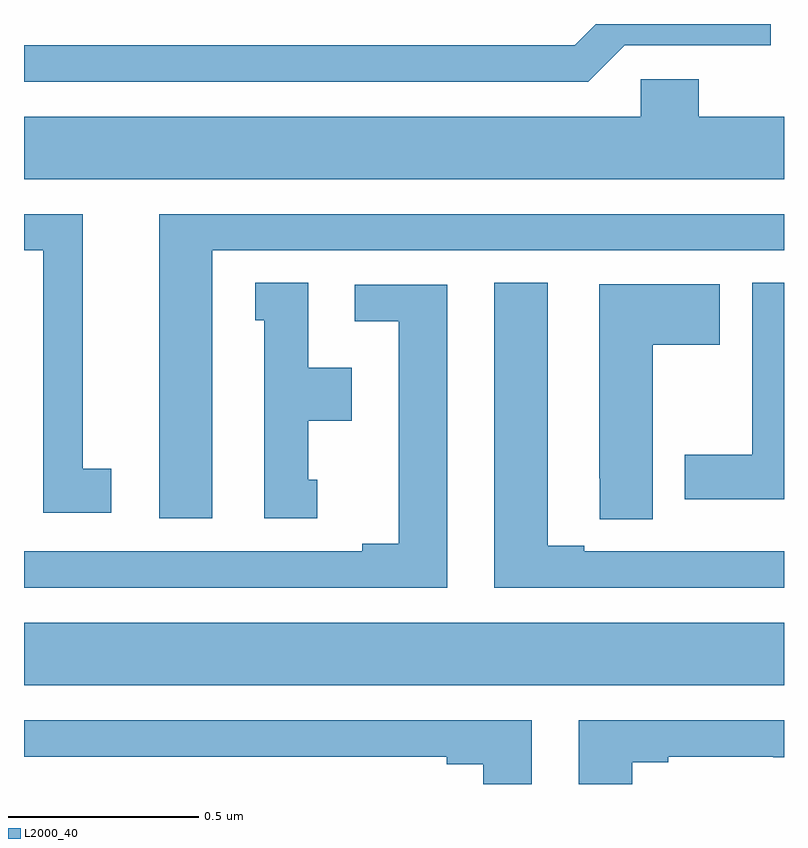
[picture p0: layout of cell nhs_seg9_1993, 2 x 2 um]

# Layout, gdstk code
import gdstk
lib = gdstk.Library(unit=1e-6, precision=1e-09)
def R(c, l, rs):  # rectangles x0, y0, x1, y1
    for r in rs: c.add(gdstk.rectangle(r[:2], r[2:], *l))
def P(c, l, *ps):  # polygons
    for p in ps: c.add(gdstk.Polygon(p, *l))
L2000_40 = (2000, 40)

nhs_seg9_1993 = lib.new_cell('nhs_seg9_1993')
R(nhs_seg9_1993, L2000_40, [(135,1189.76,137,1189.924)])
P(nhs_seg9_1993, L2000_40, [(136.581,1191.444),(136.965,1191.444),(136.965,1191.5),(136.505,1191.5),(136.449,1191.444),(135,1191.444),(135,1191.348),(136.485,1191.348)],
  [(137,1191.256),(136.775,1191.256),(136.775,1191.354),(136.623,1191.354),(136.623,1191.256),(135,1191.256),(135,1191.092),(137,1191.092)],
  [(135.496,1190.904),(137,1190.904),(137,1191),(135.356,1191),(135.356,1190.199),(135.496,1190.199)],
  [(135.229,1190.33),(135.154,1190.33),(135.154,1191),(135,1191),(135,1190.904),(135.05,1190.904),(135.05,1190.214),(135.229,1190.214)],
  [(137,1190.819),(136.916,1190.819),(136.916,1190.367),(136.739,1190.367),(136.739,1190.25),(137,1190.25)],
  [(135.772,1190.301),(135.748,1190.301),(135.748,1190.456),(135.862,1190.456),(135.862,1190.596),(135.748,1190.596),(135.748,1190.819),(135.608,1190.819),(135.608,1190.721),(135.632,1190.721),(135.632,1190.199),(135.772,1190.199)],
  [(137,1190.112),(136.916,1190.112),(136.916,1190.113),(136.75,1190.113),(136.75,1190.112),(136.474,1190.112),(136.474,1190.127),(136.378,1190.127),(136.378,1190.819),(136.238,1190.819),(136.238,1190.016),(137,1190.016)],
  [(136.654,1190.656),(136.831,1190.656),(136.831,1190.815),(136.514,1190.815),(136.514,1190.305),(136.515,1190.305),(136.515,1190.197),(136.654,1190.197)],
  [(136.114,1190.814),(135.87,1190.814),(135.87,1190.718),(135.986,1190.718),(135.986,1190.132),(135.89,1190.132),(135.89,1190.112),(135,1190.112),(135,1190.016),(136.114,1190.016)],
  [(136.336,1189.668),(135,1189.668),(135,1189.572),(136.112,1189.572),(136.112,1189.552),(136.208,1189.552),(136.208,1189.5),(136.336,1189.5)],
  [(136.6,1189.557),(136.696,1189.557),(136.696,1189.572),(136.972,1189.572),(136.972,1189.571),(137,1189.571),(137,1189.668),(136.46,1189.668),(136.46,1189.5),(136.6,1189.5)])

lib.write_gds('nhs_seg9_1993.gds')
